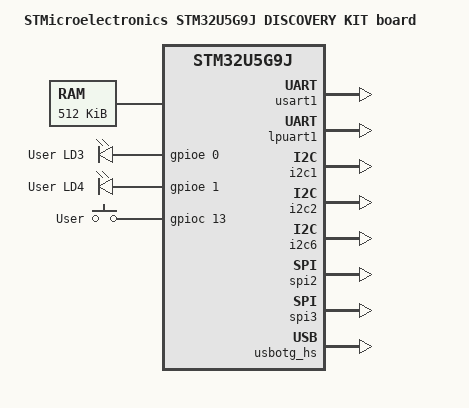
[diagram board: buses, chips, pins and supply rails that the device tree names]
// STM32U5G9J-DK1 Device Tree
// STM32U5G9J-DK1 设备树
//
// 基于 Zephyr 的 stm32u5g9j_dk1 设备树配置移植
// 与 STM32U5A9J-DK 保持一致，仅主控型号不同

/dts-v1/;

/ {
    model = "STMicroelectronics STM32U5G9J DISCOVERY KIT board";
    compatible = "st,stm32u5g9j-dk1";

    // 内存定义
    sram0: memory@20000000 {
        device_type = "memory";
        compatible = "mmio-sram";
        reg = <0x20000000 0x80000>;
    };

    // LED 设备节点定义
    leds {
        compatible = "gpio-leds";

        green_led_0: led_3 {
            compatible = "gpio-leds";
            gpios = <&gpioe 0 0>;
            label = "User LD3";
        };

        red_led_0: led_4 {
            compatible = "gpio-leds";
            gpios = <&gpioe 1 0>;
            label = "User LD4";
        };
    };

    // GPIO 按键节点定义
    gpio_keys {
        compatible = "gpio-keys";

        user_button: button_0 {
            label = "User";
            gpios = <&gpioc 13 0>;
            zephyr,code = <0>;
        };
    };

    // SoC 节点定义
    soc {
        #address-cells = <1>;
        #size-cells = <1>;
        compatible = "st,stm32u5g9j";
        ranges;

        // GPIO 控制器
        gpioa: gpio@50020000 {
            compatible = "st,stm32-gpio";
            reg = <0x50020000 0x400>;
            clocks = <&rcc 0>;
        };

        gpiob: gpio@50020400 {
            compatible = "st,stm32-gpio";
            reg = <0x50020400 0x400>;
            clocks = <&rcc 0>;
        };

        gpioc: gpio@50020800 {
            compatible = "st,stm32-gpio";
            reg = <0x50020800 0x400>;
            clocks = <&rcc 0>;
        };

        gpiod: gpio@50020c00 {
            compatible = "st,stm32-gpio";
            reg = <0x50020c00 0x400>;
            clocks = <&rcc 0>;
        };

        gpioe: gpio@50021000 {
            compatible = "st,stm32-gpio";
            reg = <0x50021000 0x400>;
            clocks = <&rcc 0>;
        };

        gpiof: gpio@50021400 {
            compatible = "st,stm32-gpio";
            reg = <0x50021400 0x400>;
            clocks = <&rcc 0>;
        };

        gpiog: gpio@50021800 {
            compatible = "st,stm32-gpio";
            reg = <0x50021800 0x400>;
            clocks = <&rcc 0>;
        };

        gpioh: gpio@50021c00 {
            compatible = "st,stm32-gpio";
            reg = <0x50021c00 0x400>;
            clocks = <&rcc 0>;
        };

        gpioi: gpio@50022000 {
            compatible = "st,stm32-gpio";
            reg = <0x50022000 0x400>;
            clocks = <&rcc 0>;
        };

        // USART1 串口节点定义
        usart1: serial@40013800 {
            compatible = "st,stm32-usart";
            reg = <0x40013800 0x400>;
            interrupts = <27>;
            status = "okay";
        };

        // LPUART1 串口节点定义
        lpuart1: serial@4000ec00 {
            compatible = "st,stm32-lpuart";
            reg = <0x4000ec00 0x400>;
            interrupts = <71>;
            status = "okay";
        };

        // I2C1 总线节点定义
        i2c1: i2c@40012100 {
            compatible = "st,stm32-i2c";
            reg = <0x40012100 0x400>;
            interrupts = <47>;
            status = "okay";
        };

        // I2C2 总线节点定义
        i2c2: i2c@40012200 {
            compatible = "st,stm32-i2c";
            reg = <0x40012200 0x400>;
            interrupts = <48>;
            status = "okay";
        };

        // I2C6 总线节点定义
        i2c6: i2c@40012700 {
            compatible = "st,stm32-i2c";
            reg = <0x40012700 0x400>;
            interrupts = <95>;
            status = "okay";
        };

        // SPI2 总线节点定义
        spi2: spi@40013400 {
            compatible = "st,stm32-spi";
            reg = <0x40013400 0x400>;
            interrupts = <36>;
            status = "okay";
        };

        // SPI3 总线节点定义
        spi3: spi@40013c00 {
            compatible = "st,stm32-spi";
            reg = <0x40013c00 0x400>;
            interrupts = <39>;
            status = "okay";
        };

        // SDMMC1 控制器
        sdmmc1: sdmmc@480c4000 {
            compatible = "st,stm32-sdmmc";
            reg = <0x480c4000 0x1000>;
            interrupts = <49>;
            status = "disabled";
        };

        // ADC1 控制器
        adc1: adc@48004000 {
            compatible = "st,stm32-adc";
            reg = <0x48004000 0x400>;
            interrupts = <18>;
            status = "disabled";
        };

        // USB OTG HS 控制器
        usbotg_hs: usb@40000000 {
            compatible = "st,stm32-otghs";
            reg = <0x40000000 0x40000>;
            interrupts = <98>;
            status = "okay";
        };

        // RTC 控制器
        rtc: rcc@44000000 {
            compatible = "st,stm32u5-rcc";
            reg = <0x44000000 0x1000>;
        };

        // IWDG 看门狗
        iwdg: watchdog@40012000 {
            compatible = "st,stm32-iwdg";
            reg = <0x40012000 0x400>;
        };

        // RNG 随机数生成器
        rng: rng@40012000 {
            compatible = "st,stm32-rng";
            reg = <0x40012000 0x400>;
        };
    };

    aliases {
        led0 = &green_led_0;
        led1 = &red_led_0;
        sw0 = &user_button;
        console = &usart1;
        serial0 = &usart1;
    };
};
